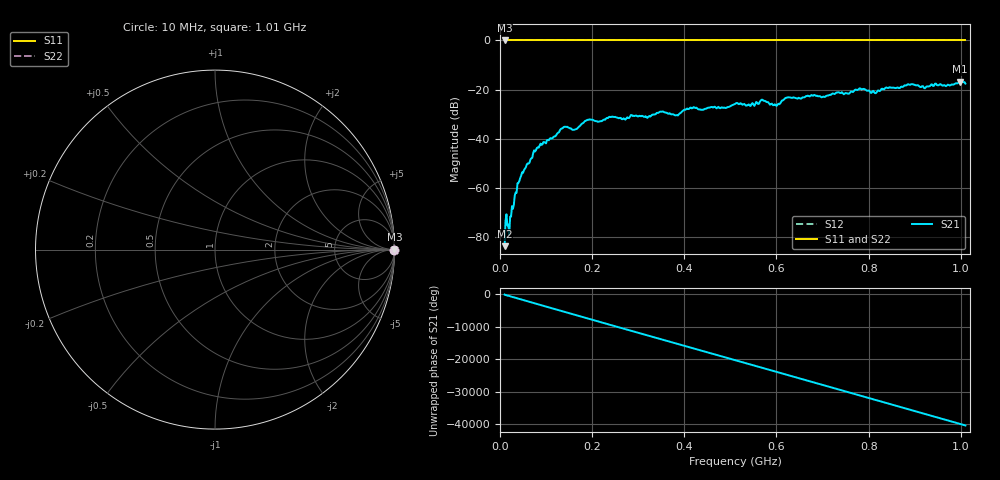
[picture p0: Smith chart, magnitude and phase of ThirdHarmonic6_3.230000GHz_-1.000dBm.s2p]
! 8/17/2025 9:53:15 AM
! C:\ANRITSUVNA\TEMP\TEMP.S2P
! CHANNEL.1
! TR.MEASUREMENT
! RAW.DATA
! RF.CORRECTION.OFF
! AVERAGING.OFF
! IF.BANDWIDTH: 5KHZ
! SWEEPTYPE:  FREQ.SWEEP(Linear)
! Reference Plane Port Info
! PORT:  PORT1  PORT2
! DISTANCE:  0  m  0  m
! TIME:  0  s  0  s
! PHASE.OFFSET:  0  deg.  0  deg.
! LOSS:  0  dB  0  dB
! REF.LOSS:  0  dB  0  dB
! REF.FREQ:  0  Hz  0  Hz
! Power Info
! POWER:  -20  dBm  -20  dBm
! EFF.POWER:  -20  dBm  -20  dBm
! SOURCE.ATTEN:  0  dB  0  dB
! TEST.ATTEN:  0  dB  0  dB
# GHZ S RI R 50.0
! FREQ.GHZ  S11RE  S11IM  S21RE  S21IM  S12RE  S12IM  S22RE  S22IM
!; PortSelection: Port_12
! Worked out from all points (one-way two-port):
!   501 points, 10 MHz to 1.01 GHz, reference 50 ohm
!   highest |S21| = -16.79 dB at 998 MHz (marker M1); lowest = -83.6 dB at 10 MHz (marker M2)
!   lowest |S11| = 0.0 dB at 10 MHz (marker M3)
!   |S11| at or under -10 dB: nowhere
!   |S22| runs from 0.0 to 0.0 dB; largest |S21 - S12| = 1.1
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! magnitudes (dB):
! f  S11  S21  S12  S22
! 10 MHz  0.0  -83.6  0.0  0.0
! 20 MHz  0.0  -78.9  0.0  0.0
! 42 MHz  0.0  -57.1  0.0  0.0
! 76 MHz  0.0  -45.1  0.0  0.0
! 136 MHz  0.0  -35.6  0.0  0.0
! 162 MHz  0.0  -36.2  0.0  0.0
! 178 MHz  0.0  -33.8  0.0  0.0
! 192 MHz  0.0  -32.2  0.0  0.0
! 322 MHz  0.0  -31.0  0.0  0.0
! 344 MHz  0.0  -29.4  0.0  0.0
! 384 MHz  0.0  -30.3  0.0  0.0
! 416 MHz  0.0  -27.6  0.0  0.0
! 510 MHz  0.0  -25.8  0.0  0.0
! 570 MHz  0.0  -24.1  0.0  0.0
! 598 MHz  0.0  -26.2  0.0  0.0
! 624 MHz  0.0  -23.1  0.0  0.0
! 678 MHz  0.0  -22.4  0.0  0.0
! 784 MHz  0.0  -19.8  0.0  0.0
! 816 MHz  0.0  -21.4  0.0  0.0
! 844 MHz  0.0  -19.2  0.0  0.0
! 998 MHz  0.0  -16.8  0.0  0.0
! 1.01 GHz  0.0  -17.5  0.0  0.0
